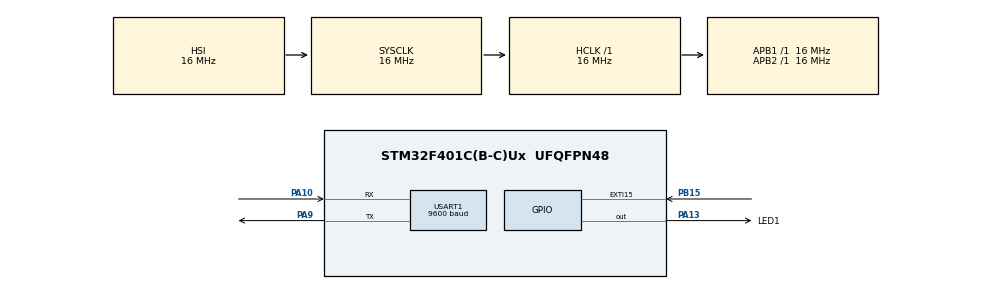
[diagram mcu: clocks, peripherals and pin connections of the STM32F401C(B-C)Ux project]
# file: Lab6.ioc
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Mcu.Family=STM32F4
Mcu.Name=STM32F401C(B-C)Ux
Mcu.Package=UFQFPN48
NVIC.EXTI15_10_IRQn=true\:0\:0\:false\:true\:true\:3\:true\:true\:true
NVIC.PriorityGroup=NVIC_PRIORITYGROUP_4
NVIC.TIM2_IRQn=true\:0\:0\:false\:true\:true\:1\:true\:true\:true
NVIC.USART1_IRQn=true\:0\:0\:false\:true\:true\:2\:true\:true\:true
PA10.Mode=Asynchronous
PA10.Signal=USART1_RX
PA13.GPIO_Label=LED1
PA13.Signal=GPIO_Output
PA9.Mode=Asynchronous
PA9.Signal=USART1_TX
PB15.GPIO_PuPd=GPIO_PULLDOWN
PB15.Signal=GPXTI15
ProjectManager.HeapSize=0x200
ProjectManager.StackSize=0x400
ProjectManager.TargetToolchain=STM32CubeIDE
RCC.AHBFreq_Value=16000000
RCC.APB1Freq_Value=16000000
RCC.APB1TimFreq_Value=16000000
RCC.APB2Freq_Value=16000000
RCC.APB2TimFreq_Value=16000000
RCC.CortexFreq_Value=16000000
RCC.HCLKFreq_Value=16000000
RCC.HSE_VALUE=25000000
RCC.HSI_VALUE=16000000
RCC.LSE_VALUE=32768
RCC.SYSCLKFreq_VALUE=16000000
RCC.VCOOutputFreq_Value=192000000
TIM2.Period=500-1
TIM2.Prescaler=16000-1
TIM2.TIM_MasterOutputTrigger=TIM_TRGO_UPDATE
USART1.BaudRate=9600
USART1.VirtualMode=VM_ASYNC
VP_TIM2_VS_ClockSourceINT.Mode=Internal
board=custom

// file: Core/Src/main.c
/* USER CODE BEGIN Header */
/**
  ******************************************************************************
  * @file           : main.c
  * @brief          : Main program body
  ******************************************************************************
  * @attention
  *
  * Copyright (c) 2022 STMicroelectronics.
  * All rights reserved.
  *
  * This software is licensed under terms that can be found in the LICENSE file
  * in the root directory of this software component.
  * If no LICENSE file comes with this software, it is provided AS-IS.
  *
  ******************************************************************************
  */
/* USER CODE END Header */
#include "main.h"

/* USER CODE BEGIN Includes */
#include <string.h>
#include <stdio.h>
/* USER CODE END Includes */

TIM_HandleTypeDef htim2;

UART_HandleTypeDef huart1;

void SystemClock_Config(void);
static void MX_GPIO_Init(void);
static void MX_USART1_UART_Init(void);
static void MX_TIM2_Init(void);
static void MX_NVIC_Init(void);

/* USER CODE BEGIN 0 */
static int flag1 = 1;
char str[100];
uint16_t i = 0;

/* USER CODE END 0 */

int main(void)
{

  /* MCU Configuration--------------------------------------------------------*/

  /* Reset of all peripherals, Initializes the Flash interface and the Systick. */
  HAL_Init();

  /* Configure the system clock */
  SystemClock_Config();

  /* Initialize all configured peripherals */
  MX_GPIO_Init();
  MX_USART1_UART_Init();
  MX_TIM2_Init();

  /* Initialize interrupts */
  MX_NVIC_Init();
  /* USER CODE BEGIN 2 */
  HAL_TIM_Base_Start_IT(&htim2);
  /* USER CODE END 2 */

  /* Infinite loop */
  /* USER CODE BEGIN WHILE */
  while (1)
  {
	  if (flag1 == 1)
	  {
		  i++;
		  sprintf( str,"value = %d\r\n",i);
		  HAL_UART_Transmit(&huart1, (uint8_t*)str, strlen(str), 100);

	  //HAL_UART_Transmit(&huart1, (uint8_t*)"Hello World\n\r", sizeof("Hello World\n\r"), 1000);

		  //HAL_UART_Transmit(&huart1, (uint8_t*)i, sizeof(i), 1000);
	  //HAL_Delay(100);

	  //HAL_UART_Transmit_IT(&huart1, &i, sizeof(&i));
	  //HAL_Delay(100);

	  flag1 = 0;
	  }
    /* USER CODE END WHILE */

  }
}

void SystemClock_Config(void)
{
  RCC_OscInitTypeDef RCC_OscInitStruct = {0};
  RCC_ClkInitTypeDef RCC_ClkInitStruct = {0};

  /** Configure the main internal regulator output voltage
  */
  __HAL_RCC_PWR_CLK_ENABLE();
  __HAL_PWR_VOLTAGESCALING_CONFIG(PWR_REGULATOR_VOLTAGE_SCALE2);

  /** Initializes the RCC Oscillators according to the specified parameters
  * in the RCC_OscInitTypeDef structure.
  */
  RCC_OscInitStruct.OscillatorType = RCC_OSCILLATORTYPE_HSI;
  RCC_OscInitStruct.HSIState = RCC_HSI_ON;
  RCC_OscInitStruct.HSICalibrationValue = RCC_HSICALIBRATION_DEFAULT;
  RCC_OscInitStruct.PLL.PLLState = RCC_PLL_NONE;
  if (HAL_RCC_OscConfig(&RCC_OscInitStruct) != HAL_OK)
  {
    Error_Handler();
  }

  /** Initializes the CPU, AHB and APB buses clocks
  */
  RCC_ClkInitStruct.ClockType = RCC_CLOCKTYPE_HCLK|RCC_CLOCKTYPE_SYSCLK
                              |RCC_CLOCKTYPE_PCLK1|RCC_CLOCKTYPE_PCLK2;
  RCC_ClkInitStruct.SYSCLKSource = RCC_SYSCLKSOURCE_HSI;
  RCC_ClkInitStruct.AHBCLKDivider = RCC_SYSCLK_DIV1;
  RCC_ClkInitStruct.APB1CLKDivider = RCC_HCLK_DIV1;
  RCC_ClkInitStruct.APB2CLKDivider = RCC_HCLK_DIV1;

  if (HAL_RCC_ClockConfig(&RCC_ClkInitStruct, FLASH_LATENCY_0) != HAL_OK)
  {
    Error_Handler();
  }
}

/**
  * @brief NVIC Configuration.
  * @retval None
  */
static void MX_NVIC_Init(void)
{
  /* TIM2_IRQn interrupt configuration */
  HAL_NVIC_SetPriority(TIM2_IRQn, 0, 0);
  HAL_NVIC_EnableIRQ(TIM2_IRQn);
  /* USART1_IRQn interrupt configuration */
  HAL_NVIC_SetPriority(USART1_IRQn, 0, 0);
  HAL_NVIC_EnableIRQ(USART1_IRQn);
  /* EXTI15_10_IRQn interrupt configuration */
  HAL_NVIC_SetPriority(EXTI15_10_IRQn, 0, 0);
  HAL_NVIC_EnableIRQ(EXTI15_10_IRQn);
}

static void MX_TIM2_Init(void)
{

  TIM_ClockConfigTypeDef sClockSourceConfig = {0};
  TIM_MasterConfigTypeDef sMasterConfig = {0};

  htim2.Instance = TIM2;
  htim2.Init.Prescaler = 16000-1;
  htim2.Init.CounterMode = TIM_COUNTERMODE_UP;
  htim2.Init.Period = 500-1;
  htim2.Init.ClockDivision = TIM_CLOCKDIVISION_DIV1;
  htim2.Init.AutoReloadPreload = TIM_AUTORELOAD_PRELOAD_DISABLE;
  if (HAL_TIM_Base_Init(&htim2) != HAL_OK)
  {
    Error_Handler();
  }
  sClockSourceConfig.ClockSource = TIM_CLOCKSOURCE_INTERNAL;
  if (HAL_TIM_ConfigClockSource(&htim2, &sClockSourceConfig) != HAL_OK)
  {
    Error_Handler();
  }
  sMasterConfig.MasterOutputTrigger = TIM_TRGO_UPDATE;
  sMasterConfig.MasterSlaveMode = TIM_MASTERSLAVEMODE_DISABLE;
  if (HAL_TIMEx_MasterConfigSynchronization(&htim2, &sMasterConfig) != HAL_OK)
  {
    Error_Handler();
  }

}

static void MX_USART1_UART_Init(void)
{

  huart1.Instance = USART1;
  huart1.Init.BaudRate = 9600;
  huart1.Init.WordLength = UART_WORDLENGTH_8B;
  huart1.Init.StopBits = UART_STOPBITS_1;
  huart1.Init.Parity = UART_PARITY_NONE;
  huart1.Init.Mode = UART_MODE_TX_RX;
  huart1.Init.HwFlowCtl = UART_HWCONTROL_NONE;
  huart1.Init.OverSampling = UART_OVERSAMPLING_16;
  if (HAL_UART_Init(&huart1) != HAL_OK)
  {
    Error_Handler();
  }

}

static void MX_GPIO_Init(void)
{
  GPIO_InitTypeDef GPIO_InitStruct = {0};

  /* GPIO Ports Clock Enable */
  __HAL_RCC_GPIOB_CLK_ENABLE();
  __HAL_RCC_GPIOA_CLK_ENABLE();

  /*Configure GPIO pin Output Level */
  HAL_GPIO_WritePin(LED1_GPIO_Port, LED1_Pin, GPIO_PIN_RESET);

  /*Configure GPIO pin : PB15 */
  GPIO_InitStruct.Pin = GPIO_PIN_15;
  GPIO_InitStruct.Mode = GPIO_MODE_IT_RISING;
  GPIO_InitStruct.Pull = GPIO_PULLDOWN;
  HAL_GPIO_Init(GPIOB, &GPIO_InitStruct);

  /*Configure GPIO pin : LED1_Pin */
  GPIO_InitStruct.Pin = LED1_Pin;
  GPIO_InitStruct.Mode = GPIO_MODE_OUTPUT_PP;
  GPIO_InitStruct.Pull = GPIO_NOPULL;
  GPIO_InitStruct.Speed = GPIO_SPEED_FREQ_LOW;
  HAL_GPIO_Init(LED1_GPIO_Port, &GPIO_InitStruct);

}

/* USER CODE BEGIN 4 */
void HAL_TIM_PeriodElapsedCallback(TIM_HandleTypeDef *htim)
{
	if (htim -> Instance == TIM2)
	{
		flag1 = 1;
	}
}

void HAL_GPIO_EXTI_Callback(uint16_t GPIO_Pin)
{
	if (GPIO_Pin == GPIO_PIN_15)
	{
		i = 0;
	}
}
/* USER CODE END 4 */

void Error_Handler(void)
{
  __disable_irq();
  while (1)
  {
  }
}
